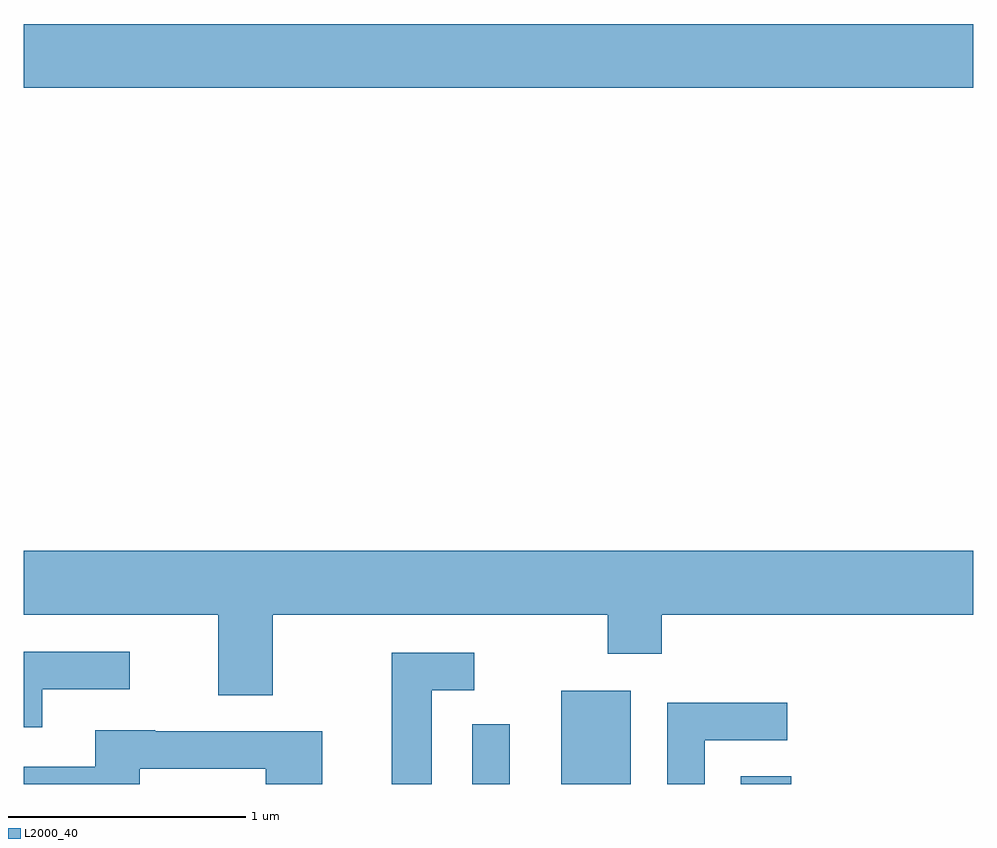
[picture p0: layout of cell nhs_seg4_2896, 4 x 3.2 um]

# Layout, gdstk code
import gdstk
lib = gdstk.Library(unit=1e-6, precision=1e-09)
def R(c, l, rs):  # rectangles x0, y0, x1, y1
    for r in rs: c.add(gdstk.rectangle(r[:2], r[2:], *l))
def P(c, l, *ps):  # polygons
    for p in ps: c.add(gdstk.Polygon(p, *l))
L2000_40 = (2000, 40)

nhs_seg4_2896 = lib.new_cell('nhs_seg4_2896')
R(nhs_seg4_2896, L2000_40, [(271.501,1333.982,271.659,1334.233), (271.876,1333.982,272.169,1334.374), (272.631,1333.982,272.844,1334.014), (269.611,1336.916,273.611,1337.184)])
P(nhs_seg4_2896, L2000_40, [(270.659,1334.696),(272.071,1334.696),(272.071,1334.531),(272.299,1334.531),(272.299,1334.696),(273.611,1334.696),(273.611,1334.964),(269.611,1334.964),(269.611,1334.696),(270.431,1334.696),(270.431,1334.356),(270.659,1334.356)],
  [(269.689,1334.381),(270.058,1334.381),(270.058,1334.539),(269.611,1334.539),(269.611,1334.221),(269.689,1334.221)],
  [(271.329,1334.376),(271.508,1334.376),(271.508,1334.534),(271.161,1334.534),(271.161,1333.982),(271.329,1333.982)],
  [(272.479,1334.166),(272.828,1334.166),(272.828,1334.324),(272.321,1334.324),(272.321,1333.982),(272.479,1333.982)],
  [(270.099,1334.046),(270.631,1334.046),(270.631,1333.982),(270.869,1333.982),(270.869,1334.204),(270.165,1334.204),(270.165,1334.209),(269.911,1334.209),(269.911,1334.054),(269.611,1334.054),(269.611,1333.982),(270.099,1333.982)])

lib.write_gds('nhs_seg4_2896.gds')
